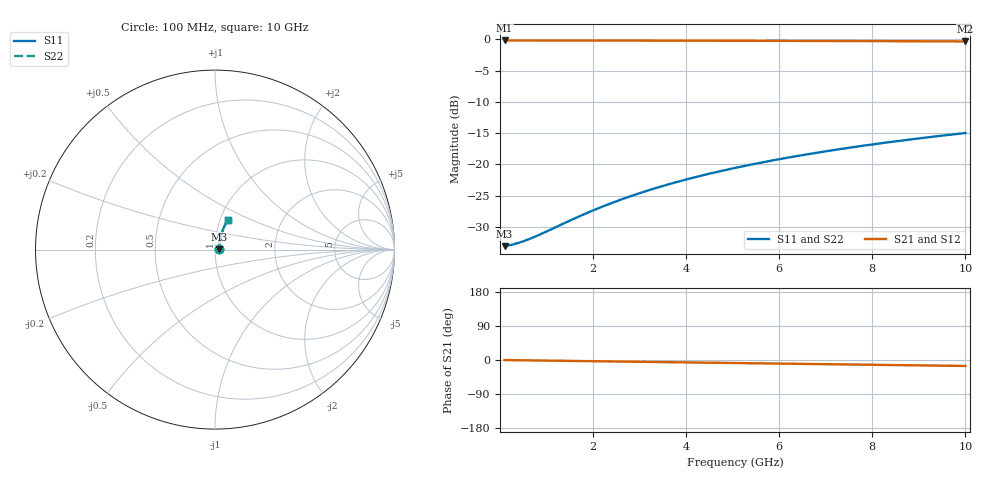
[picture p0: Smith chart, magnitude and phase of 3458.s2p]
# Hz S RI R 50.00
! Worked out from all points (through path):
!   100 points, 100 MHz to 10 GHz, reference 50 ohm
!   highest |S21| = -0.19 dB at 100 MHz (marker M1); lowest = -0.4 dB at 10 GHz (marker M2)
!   group delay of S21, straight-line fit = 4.36 ps
!   lowest |S11| = -33.1 dB at 100 MHz (marker M3), VSWR 1.05, Z = 52.3 + j0.183 ohm
!   |S11| at or under -10 dB: start of sweep to end of sweep
!   |S22| runs from -33.1 to -15.0 dB; largest |S21 - S12| = 0
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1e8  0.0222 0.00175  0.9778 -0.00271  0.9778 -0.00271  0.0222 0.00175
3e8  0.0224 0.00524  0.9775 -0.00812  0.9775 -0.00812  0.0224 0.00524
4e8  0.0226 0.00699  0.9774 -0.0108  0.9774 -0.0108  0.0226 0.00699
6e8  0.0228 0.0105  0.9772 -0.0162  0.9772 -0.0162  0.0228 0.0105
9e8  0.0232 0.0157  0.9768 -0.0243  0.9768 -0.0243  0.0232 0.0157
1.5e9  0.0241 0.0261  0.9758 -0.0405  0.9758 -0.0405  0.0241 0.0261
1.8e9  0.0247 0.0313  0.9752 -0.0486  0.9752 -0.0486  0.0247 0.0313
2.2e9  0.0255 0.0382  0.9742 -0.0594  0.9742 -0.0594  0.0255 0.0382
2.6e9  0.0266 0.0451  0.9731 -0.0701  0.9731 -0.0701  0.0266 0.0451
3e9  0.0277 0.052  0.9718 -0.0808  0.9718 -0.0808  0.0277 0.052
3.4e9  0.029 0.0588  0.9704 -0.0915  0.9704 -0.0915  0.029 0.0588
3.8e9  0.0305 0.0656  0.9688 -0.1021  0.9688 -0.1021  0.0305 0.0656
4.2e9  0.0321 0.0724  0.9671 -0.1127  0.9671 -0.1127  0.0321 0.0724
4.6e9  0.0338 0.0791  0.9652 -0.1233  0.9652 -0.1233  0.0338 0.0791
5.1e9  0.0362 0.0874  0.9626 -0.1364  0.9626 -0.1364  0.0362 0.0874
5.5e9  0.0382 0.094  0.9603 -0.1468  0.9603 -0.1468  0.0382 0.094
5.9e9  0.0404 0.1005  0.9579 -0.1572  0.9579 -0.1572  0.0404 0.1005
6.7e9  0.0452 0.1134  0.9526 -0.1778  0.9526 -0.1778  0.0452 0.1134
7.5e9  0.0506 0.1261  0.9467 -0.1982  0.9467 -0.1982  0.0506 0.1261
8.4e9  0.0572 0.1399  0.9394 -0.2207  0.9394 -0.2207  0.0572 0.1399
9.2e9  0.0636 0.1519  0.9323 -0.2404  0.9323 -0.2404  0.0636 0.1519
1e10  0.0706 0.1636  0.9247 -0.2598  0.9247 -0.2598  0.0706 0.1636
